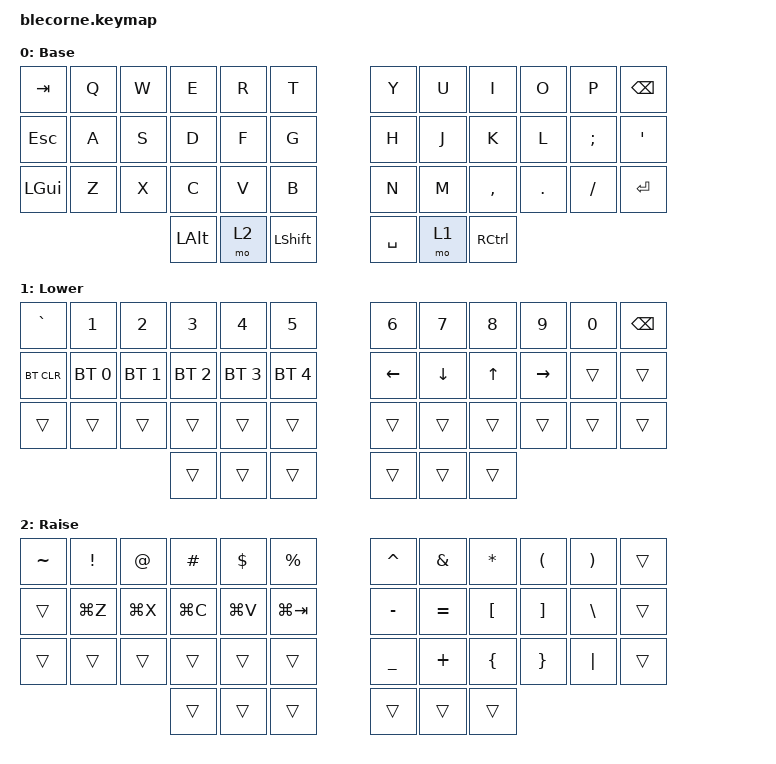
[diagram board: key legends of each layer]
/*
 * Copyright (c) 2020 The ZMK Contributors
 * SPDX-License-Identifier: MIT
 */

#include <behaviors.dtsi>
#include <dt-bindings/zmk/keys.h>
#include <dt-bindings/zmk/bt.h>

/ {
    chosen {
        zmk,physical-layout = &foostan_corne_6col_layout;
        // zmk,physical-layout = &foostan_corne_5col_layout;
    };
};

/ {
    keymap {
        compatible = "zmk,keymap";

        default_layer {
// -----------------------------------------------------------------------------------------
// | TAB  |  Q  |  W  |  E  |  R  |  T  |   |  Y  |  U   |  I  |  O  |  P  | BKSP |
// | ESC  |  A  |  S  |  D  |  F  |  G  |   |  H  |  J   |  K  |  L  |  ;  |  '   |
// | GUI  |  Z  |  X  |  C  |  V  |  B  |   |  N  |  M   |  ,  |  .  |  /  | ENT  |
//                    | ALT | RSE | SHFT|   | SPC | LWR  | CTRL|
            label = "Base";
            bindings = <
                &kp TAB  &kp Q &kp W &kp E &kp R &kp T   &kp Y &kp U  &kp I     &kp O   &kp P    &kp BSPC
                &kp ESC  &kp A &kp S &kp D &kp F &kp G   &kp H &kp J  &kp K     &kp L   &kp SEMI &kp SQT
                &kp LGUI &kp Z &kp X &kp C &kp V &kp B   &kp N &kp M  &kp COMMA &kp DOT &kp FSLH &kp RET
                              &kp LALT &mo 2 &kp LSHFT   &kp SPACE &mo 1 &kp RCTRL
            >;
        };
        lower_layer {
// -----------------------------------------------------------------------------------------
// | GRAVE |  1  |  2  |  3  |  4  |  5  |   |  6  |  7  |  8  |  9  |  0  | BKSP |
// | BTCLR| BT1 | BT2 | BT3 | BT4 | BT5 |   | LFT | DWN |  UP | RGT |     |      |
// |      |     |     |     |     |     |   |     |     |     |     |     |      |
//                    |     |     |     |   |     |     |     |
            label = "Lower";
            bindings = <
                &kp GRAVE  &kp N1       &kp N2       &kp N3       &kp N4       &kp N5         &kp N6   &kp N7   &kp N8 &kp N9    &kp N0 &kp BSPC
                &bt BT_CLR &bt BT_SEL 0 &bt BT_SEL 1 &bt BT_SEL 2 &bt BT_SEL 3 &bt BT_SEL 4   &kp LEFT &kp DOWN &kp UP &kp RIGHT &trans &trans
                &trans     &trans       &trans       &trans       &trans       &trans         &trans   &trans   &trans &trans    &trans &trans
                                                &trans       &trans       &trans         &trans   &trans   &trans
            >;
        };

        raise_layer {
// -----------------------------------------------------------------------------------------
// |TILDE |  !  |  @  |  #  |  $  |  %  |   |  ^  |  &  |  *  |  (  |  )  |      |
// |      |     |     |     |     |     |   |  -  |  =  |  [  |  ]  |  \  |      |
// |      |     |     |     |     |     |   |  _  |  +  |  {  |  }  | "|" |      |
//                    |     |     |     |   |     |     |     |
            label = "Raise";
            bindings = <
                &kp TILDE &kp EXCL &kp AT &kp HASH &kp DLLR &kp PRCNT   &kp CARET &kp AMPS  &kp STAR &kp LPAR &kp RPAR &trans
                &trans    &kp LG(Z) &kp LG(X) &kp LG(C)   &kp LG(V)   &kp LG(TAB)      &kp MINUS &kp EQUAL &kp LBKT        &kp RBKT &kp BSLH &trans
                &trans    &trans   &trans &trans   &trans   &trans      &kp UNDER &kp PLUS  &kp LBRC        &kp RBRC &kp PIPE &trans
                                         &trans   &trans   &trans      &trans    &trans    &trans
            >;
        };
    };
};
